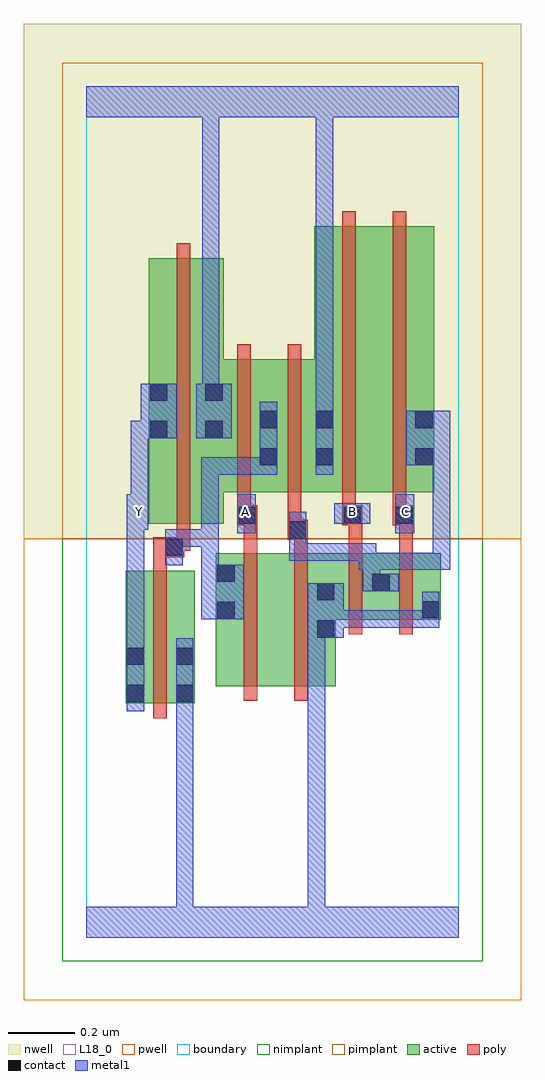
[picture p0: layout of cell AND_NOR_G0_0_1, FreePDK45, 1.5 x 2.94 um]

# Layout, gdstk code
import gdstk
lib = gdstk.Library(unit=1e-6, precision=1e-09)
def R(c, l, rs):  # rectangles x0, y0, x1, y1
    for r in rs: c.add(gdstk.rectangle(r[:2], r[2:], *l))
def A(c, l, x, y, w, h, nx, ny, dx, dy):  # array of equal rectangles
    R(c, l, [(x+i*dx, y+j*dy, x+i*dx+w, y+j*dy+h) for i in range(nx) for j in range(ny)])
active = (1, 0)
pwell = (2, 0)
nwell = (3, 0)
nimplant = (4, 0)
pimplant = (5, 0)
poly = (9, 0)
contact = (10, 0)
metal1 = (11, 0)
L18_0 = (18, 0)
boundary = (235, 0)

and_nor_g0_0_1 = lib.new_cell('AND_NOR_G0_0_1')
R(and_nor_g0_0_1, active, [(0.118,0.704,0.178,1.104), (0.118,0.704,0.326,1.104), (0.266,0.704,0.326,1.104), (0.39,0.756,0.45,1.156), (0.39,0.756,0.57,1.156), (0.57,0.756,0.75,1.156), (0.69,0.756,0.75,1.156), (0.69,0.956,0.916,1.156), (0.856,0.956,0.916,1.156), (0.856,0.956,1.066,1.156), (1.006,0.956,1.066,1.156), (0.188,1.244,0.414,2.044), (0.188,1.244,0.248,2.044), (0.354,1.34,0.578,1.74), (0.518,1.34,0.578,1.644), (0.518,1.34,0.746,1.74), (0.686,1.34,0.866,2.14), (0.686,1.34,0.746,1.644), (0.866,1.34,1.046,2.14), (0.986,1.34,1.046,2.044), (0.354,1.498,0.414,1.67)])
R(and_nor_g0_0_1, pwell, [(-0.188,-0.188,1.308,1.2)])
R(and_nor_g0_0_1, nwell, [(-0.188,1.2,1.308,2.748)])
R(and_nor_g0_0_1, nimplant, [(-0.072,-0.072,1.192,1.2)])
R(and_nor_g0_0_1, pimplant, [(-0.072,1.2,1.192,2.632)])
R(and_nor_g0_0_1, poly, [(0.202,0.66,0.242,1.148), (0.474,0.712,0.514,1.2), (0.626,0.712,0.666,1.2), (0.79,0.912,0.83,1.2), (0.942,0.912,0.982,1.2), (0.202,1.108,0.242,1.184), (0.202,1.144,0.294,1.204), (0.474,1.16,0.514,1.28), (0.626,1.16,0.666,1.236), (0.79,1.16,0.83,1.28), (0.942,1.16,0.982,1.28), (0.254,1.164,0.294,1.204), (0.254,1.164,0.312,1.204), (0.272,1.164,0.312,1.24), (0.606,1.196,0.666,1.256), (0.272,1.2,0.312,2.088), (0.606,1.216,0.646,1.256), (0.606,1.216,0.646,1.256), (0.606,1.216,0.646,1.336), (0.454,1.24,0.514,1.3), (0.77,1.24,0.83,1.3), (0.79,1.24,0.83,1.28), (0.79,1.24,0.83,1.28), (0.922,1.24,0.986,1.3), (0.942,1.24,0.982,1.28), (0.942,1.24,0.982,1.28), (0.454,1.26,0.494,1.336), (0.454,1.26,0.494,1.3), (0.454,1.26,0.494,1.3), (0.77,1.26,0.81,1.336), (0.922,1.26,0.962,1.336), (0.454,1.296,0.494,1.784), (0.606,1.296,0.646,1.784), (0.77,1.296,0.81,2.184), (0.922,1.296,0.962,2.184)])
R(and_nor_g0_0_1, contact, [(0.122,0.708,0.174,0.76), (0.27,0.708,0.322,0.76), (0.122,0.82,0.174,0.872), (0.27,0.82,0.322,0.872), (0.694,0.902,0.746,0.954), (0.394,0.958,0.446,1.01), (1.01,0.96,1.062,1.012), (0.694,1.014,0.746,1.066), (0.86,1.042,0.912,1.094), (0.394,1.07,0.446,1.122), (0.238,1.148,0.29,1.2), (0.61,1.2,0.662,1.252), (0.458,1.244,0.51,1.296), (0.774,1.244,0.826,1.296), (0.93,1.244,0.982,1.296), (0.522,1.42,0.574,1.472), (0.69,1.42,0.742,1.472), (0.99,1.42,1.042,1.472), (0.192,1.502,0.244,1.554), (0.358,1.502,0.41,1.554), (0.522,1.532,0.574,1.584), (0.69,1.532,0.742,1.584), (0.99,1.532,1.042,1.584), (0.192,1.614,0.244,1.666), (0.358,1.614,0.41,1.666)])
R(and_nor_g0_0_1, metal1, [(0,0,1.12,0.092), (0.27,0.04,0.322,0.732), (0.666,0.04,0.718,0.092), (0.666,0.04,0.718,0.092), (0.666,0.04,0.718,0.092), (0.666,0.04,0.718,0.092), (0.666,0.04,0.718,0.092), (0.666,0.04,0.718,0.092), (0.666,0.04,0.718,0.092), (0.666,0.04,0.718,0.092), (0.666,0.04,0.718,0.092), (0.666,0.04,0.718,0.092), (0.666,0.04,0.718,0.092), (0.666,0.04,0.718,0.092), (0.666,0.04,0.718,0.954), (0.122,0.68,0.174,0.9), (0.27,0.68,0.322,0.732), (0.27,0.68,0.322,0.732), (0.27,0.68,0.322,0.732), (0.27,0.68,0.322,0.732), (0.27,0.68,0.322,0.732), (0.27,0.68,0.322,0.732), (0.27,0.68,0.322,0.732), (0.27,0.68,0.322,0.732), (0.27,0.68,0.322,0.732), (0.27,0.68,0.322,0.732), (0.27,0.68,0.322,0.732), (0.27,0.68,0.322,0.732), (0.27,0.68,0.322,0.9), (0.122,0.848,0.174,1.278), (0.666,0.902,0.774,1.066), (0.722,0.932,0.774,0.984), (0.722,0.932,0.774,0.984), (0.722,0.932,0.904,0.984), (0.852,0.932,0.904,0.984), (0.852,0.932,0.904,0.984), (0.852,0.932,0.904,0.984), (0.852,0.932,0.904,0.984), (0.852,0.932,0.904,0.984), (0.852,0.932,1.062,0.984), (1.01,0.932,1.062,0.984), (1.01,0.932,1.062,0.984), (1.01,0.932,1.062,1.04), (0.346,0.958,0.474,1.122), (0.832,1.042,0.884,1.158), (0.832,1.042,0.94,1.094), (0.346,1.07,0.398,1.228), (0.82,1.106,0.884,1.158), (0.82,1.106,0.872,1.186), (0.832,1.106,0.884,1.158), (0.832,1.106,1.094,1.158), (1.042,1.106,1.094,1.472), (1.042,1.106,1.094,1.158), (1.042,1.106,1.094,1.158), (1.042,1.106,1.094,1.158), (1.042,1.106,1.094,1.158), (1.042,1.106,1.094,1.158), (0.238,1.12,0.29,1.228), (0.61,1.134,0.872,1.186), (0.61,1.134,0.662,1.224), (0.61,1.172,0.662,1.224), (0.61,1.172,0.662,1.28), (0.238,1.176,0.396,1.228), (0.344,1.176,0.396,1.228), (0.344,1.176,0.398,1.228), (0.346,1.176,0.398,1.228), (0.346,1.176,0.398,1.228), (0.346,1.176,0.398,1.228), (0.346,1.176,0.398,1.444), (0.454,1.216,0.51,1.334), (0.93,1.216,0.986,1.334), (0.122,1.226,0.186,1.334), (0.746,1.244,0.854,1.306), (0.134,1.282,0.186,1.554), (0.346,1.392,0.398,1.444), (0.346,1.392,0.548,1.444), (0.496,1.392,0.548,1.444), (0.496,1.392,0.574,1.444), (0.522,1.392,0.574,1.612), (0.69,1.392,0.742,1.612), (0.962,1.42,1.094,1.584), (0.134,1.502,0.216,1.554), (0.164,1.502,0.216,1.554), (0.164,1.502,0.272,1.666), (0.33,1.502,0.438,1.666), (0.69,1.56,0.742,2.52), (0.348,1.614,0.4,2.52), (0,2.468,1.12,2.56), (0.348,2.468,0.4,2.52), (0.348,2.468,0.4,2.52), (0.348,2.468,0.4,2.52), (0.348,2.468,0.4,2.52), (0.348,2.468,0.4,2.52), (0.348,2.468,0.4,2.52), (0.348,2.468,0.4,2.52), (0.348,2.468,0.4,2.52), (0.69,2.468,0.742,2.52), (0.69,2.468,0.742,2.52), (0.69,2.468,0.742,2.52), (0.69,2.468,0.742,2.52), (0.69,2.468,0.742,2.52), (0.69,2.468,0.742,2.52), (0.69,2.468,0.742,2.52), (0.69,2.468,0.742,2.52)])
A(and_nor_g0_0_1, L18_0, 0.134, 1.254, 0.052, 0.052, 3, 1, 0.32, 0)
R(and_nor_g0_0_1, L18_0, [(0,0,1.12,0.092), (0.27,0.04,0.322,0.732), (0.666,0.04,0.718,0.092), (0.666,0.04,0.718,0.092), (0.666,0.04,0.718,0.092), (0.666,0.04,0.718,0.092), (0.666,0.04,0.718,0.092), (0.666,0.04,0.718,0.092), (0.666,0.04,0.718,0.092), (0.666,0.04,0.718,0.092), (0.666,0.04,0.718,0.092), (0.666,0.04,0.718,0.092), (0.666,0.04,0.718,0.092), (0.666,0.04,0.718,0.092), (0.666,0.04,0.718,0.954), (0.122,0.68,0.174,0.9), (0.27,0.68,0.322,0.9), (0.27,0.68,0.322,0.732), (0.27,0.68,0.322,0.732), (0.27,0.68,0.322,0.732), (0.27,0.68,0.322,0.732), (0.27,0.68,0.322,0.732), (0.27,0.68,0.322,0.732), (0.27,0.68,0.322,0.732), (0.27,0.68,0.322,0.732), (0.27,0.68,0.322,0.732), (0.27,0.68,0.322,0.732), (0.27,0.68,0.322,0.732), (0.27,0.68,0.322,0.732), (0.122,0.848,0.174,1.278), (0.666,0.902,0.774,1.066), (0.722,0.932,0.774,0.984), (0.722,0.932,0.774,0.984), (0.722,0.932,0.904,0.984), (0.852,0.932,0.904,0.984), (0.852,0.932,0.904,0.984), (0.852,0.932,0.904,0.984), (0.852,0.932,0.904,0.984), (0.852,0.932,0.904,0.984), (0.852,0.932,1.062,0.984), (1.01,0.932,1.062,0.984), (1.01,0.932,1.062,0.984), (1.01,0.932,1.062,1.04), (0.454,1.216,0.51,1.334), (0.93,1.216,0.986,1.334), (0.122,1.226,0.186,1.334), (0.746,1.244,0.854,1.306), (0.934,1.254,0.986,1.306), (0.134,1.282,0.186,1.554), (0.69,1.392,0.742,1.612), (0.134,1.502,0.216,1.554), (0.164,1.502,0.272,1.666), (0.164,1.502,0.216,1.554), (0.33,1.502,0.438,1.666), (0.69,1.56,0.742,2.52), (0.348,1.614,0.4,2.52), (0,2.468,1.12,2.56), (0.348,2.468,0.4,2.52), (0.348,2.468,0.4,2.52), (0.348,2.468,0.4,2.52), (0.348,2.468,0.4,2.52), (0.348,2.468,0.4,2.52), (0.348,2.468,0.4,2.52), (0.348,2.468,0.4,2.52), (0.348,2.468,0.4,2.52), (0.69,2.468,0.742,2.52), (0.69,2.468,0.742,2.52), (0.69,2.468,0.742,2.52), (0.69,2.468,0.742,2.52), (0.69,2.468,0.742,2.52), (0.69,2.468,0.742,2.52), (0.69,2.468,0.742,2.52), (0.69,2.468,0.742,2.52)])
R(and_nor_g0_0_1, boundary, [(0,0,1.12,2.56)])
and_nor_g0_0_1.add(gdstk.Label('A', (0.48,1.28), layer=11, texttype=0))
and_nor_g0_0_1.add(gdstk.Label('B', (0.8,1.28), layer=11, texttype=0))
and_nor_g0_0_1.add(gdstk.Label('C', (0.96,1.28), layer=11, texttype=0))
and_nor_g0_0_1.add(gdstk.Label('Y', (0.16,1.28), layer=11, texttype=0))

lib.write_gds('AND_NOR_G0_0_1.gds')
